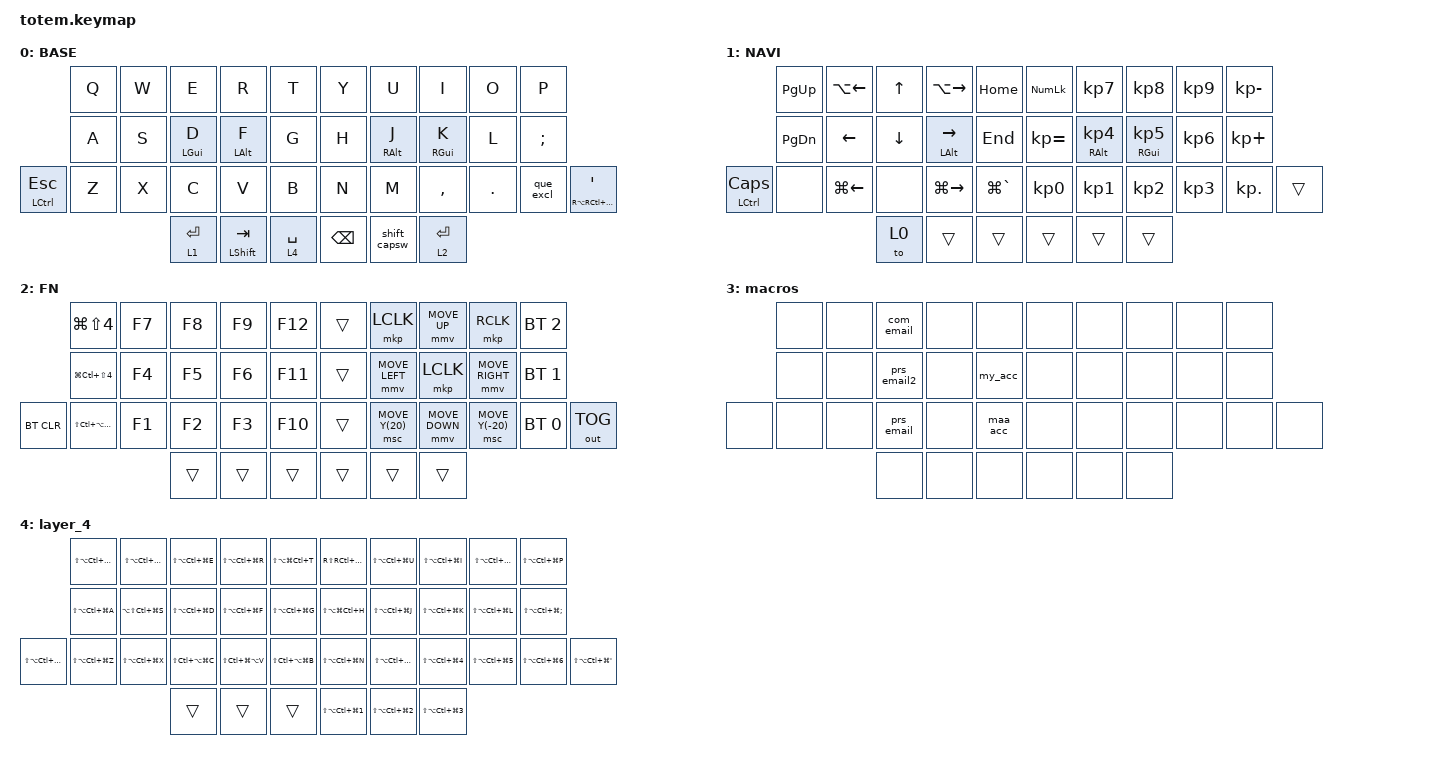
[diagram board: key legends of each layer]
//
//                                                        ▀▀▀▀▀     ▀▀▀▀▀          ▀▀█▀▀
//                                                        ▄▀▀▀▄  ▄  ▄▀▀▀▄  ▄  ▄▀▀▀▄  █  ▄▀▀▀▄
//                                                        █   █  █  █   █  █  █   █  █  █   █
//                                                         ▀▀▀   █   ▀▀▀   █   ▀▀▀   ▀   ▀▀▀
//                                                               █      ▄▄▄█▄▄▄    █   █  
//                                                               ▀      █  █  █     █▄█
//                                                             ▀▀▀▀▀    █  █  █      ▀
//                                                                      ▀  ▀  ▀
//
// ▄▄▄▄▄▄▄▄▄▄▄▄▄▄▄▄▄▄▄▄▄▄▄▄▄▄▄▄▄▄▄▄▄▄▄▄▄▄▄▄▄▄▄▄▄▄▄▄▄▄▄▄▄▄▄▄▄▄▄▄▄▄▄▄▄▄▄▄▄▄▄▄▄▄▄▄▄▄▄▄▄▄▄▄▄▄▄▄▄▄▄▄▄▄▄▄▄▄▄▄▄▄▄▄▄▄▄▄▄▄▄▄▄▄▄▄▄▄▄▄▄▄▄▄▄▄▄▄▄▄▄▄▄▄▄▄▄▄▄▄▄▄▄▄▄▄▄▄▄

#include <dt-bindings/zmk/mouse.h>
#include <behaviors.dtsi>
#include <dt-bindings/zmk/bt.h>
#include <dt-bindings/zmk/keys.h>
#include <dt-bindings/zmk/outputs.h>
#include <dt-bindings/zmk/pointing.h>

#define BASE 0
#define NAV  1
#define SYM  2
#define ADJ  3
#define TVP1 4
#define TVP2 5

&sk { quick-release; };

&caps_word { mods = <(MOD_LSFT|MOD_RSFT)>; };

&mmv {
    trigger-period-ms = <2>;
    time-to-max-speed-ms = <50>;
};

/ {
    combos {
        compatible = "zmk,combos";

        lastapp {
            bindings = <&kp LG(TAB)>;
            key-positions = <33 34>;
            timeout-ms = <60>;
            layers = <0>;
        };

        copy {
            bindings = <&kp LG(C)>;
            key-positions = <22 23>;
            layers = <0>;
        };

        paste {
            bindings = <&kp LG(V)>;
            key-positions = <23 24>;
            layers = <0>;
        };

        cut {
            bindings = <&kp LG(X)>;
            key-positions = <22 24>;
            layers = <0>;
        };

        delete {
            bindings = <&kp DELETE>;
            key-positions = <7 8>;
            layers = <0 1>;
        };

        underscore {
            bindings = <&kp UNDER>;
            key-positions = <15 26>;
            layers = <0 1>;
        };

        left_paranthesis {
            bindings = <&left_parenthesis>;
            key-positions = <17 16>;
            layers = <0 1>;
        };

        right_paranthesis {
            bindings = <&right_parenthesis>;
            key-positions = <17 18>;
            layers = <0 1>;
        };

        hyphen {
            bindings = <&kp MINUS>;
            key-positions = <16 27>;
            layers = <0 1>;
        };

        pipe {
            bindings = <&kp PIPE>;
            key-positions = <29 18>;
            layers = <0 1>;
        };

        backslash {
            bindings = <&kp BACKSLASH>;
            key-positions = <23 12>;
            layers = <0 1>;
        };

        left_square_bracket {
            bindings = <&kp LEFT_BRACKET>;
            key-positions = <27 28>;
            layers = <0 1>;
        };

        right_square_bracket {
            bindings = <&kp RIGHT_BRACKET>;
            key-positions = <28 29>;
            layers = <0 1>;
        };

        amphersand {
            bindings = <&kp AMPS>;
            key-positions = <8 18>;
            layers = <0 1>;
        };

        plus {
            bindings = <&kp PLUS>;
            key-positions = <6 16>;
            layers = <0 1>;
        };

        asterisk {
            bindings = <&kp ASTRK>;
            key-positions = <17 7>;
            layers = <0 1>;
        };

        comb3_lm {
            bindings = <&kp LS(LC(LG(F14)))>;
            key-positions = <11 12 13>;
            layers = <0>;
        };

        equal {
            bindings = <&kp KP_EQUAL>;
            key-positions = <13 24>;
            layers = <0 1>;
        };

        doller {
            bindings = <&kp DOLLAR>;
            key-positions = <3 13>;
            layers = <0 1>;
        };

        hash {
            bindings = <&kp HASH>;
            key-positions = <2 12>;
            layers = <0 1>;
        };

        tild {
            bindings = <&kp TILDE>;
            key-positions = <14 25>;
            layers = <0 1>;
        };

        percent {
            bindings = <&kp PERCENT>;
            key-positions = <4 14>;
            layers = <0 1>;
        };

        grev {
            bindings = <&kp GRAVE>;
            key-positions = <11 22>;
            layers = <0 1>;
        };

        at_the_rate {
            bindings = <&kp AT>;
            key-positions = <1 11>;
            layers = <0 1>;
        };

        select_word_l {
            bindings = <&kp LS(LA(LEFT))>;
            key-positions = <1 2>;
            layers = <1 0>;
            timeout-ms = <40>;
        };

        select_word_r {
            bindings = <&kp LS(LA(RIGHT))>;
            key-positions = <3 2>;
            layers = <1 0>;
            timeout-ms = <40>;
        };

        forward_slash {
            bindings = <&kp SLASH>;
            key-positions = <17 28>;
            layers = <0 1>;
        };

        macro_layer {
            bindings = <&mo 3>;
            key-positions = <20 32>;
        };

        caret {
            bindings = <&kp CARET>;
            key-positions = <15 5>;
        };

        bkspace {
            bindings = <&kp BACKSPACE>;
            key-positions = <6 7>;
        };

        comb3_rm {
            bindings = <&kp LS(LC(LG(F17)))>;
            key-positions = <16 17 18>;
        };

        comb3_lt {
            bindings = <&kp LS(LC(LG(F13)))>;
            key-positions = <1 2 3>;
        };

        comb3_lb {
            bindings = <&kp LS(LC(LG(F15)))>;
            key-positions = <22 23 24>;
        };

        emoji {
            bindings = <&kp LC(LG(SPACE))>;
            key-positions = <32 33>;
        };
    };

    behaviors {
        left_parenthesis: left_parenthesis {
            compatible = "zmk,behavior-mod-morph";
            label = "LEFT_PARENTHESIS";
            bindings = <&kp LEFT_PARENTHESIS>, <&kp LESS_THAN>;

            #binding-cells = <0>;
            mods = <(MOD_RSFT|MOD_LSFT)>;
        };

        right_parenthesis: right_parenthesis {
            compatible = "zmk,behavior-mod-morph";
            label = "RIGHT_PARENTHESIS";
            bindings = <&kp RIGHT_PARENTHESIS>, <&kp GREATER_THAN>;

            #binding-cells = <0>;
            mods = <(MOD_RSFT|MOD_LSFT)>;
        };

        que_excl: que_excl {
            compatible = "zmk,behavior-mod-morph";
            label = "QUE_EXCL";
            bindings = <&kp QUESTION>, <&kp EXCL>;

            #binding-cells = <0>;
            mods = <(MOD_LSFT|MOD_RSFT)>;
        };

        thumb_sl: thumb_sl {
            compatible = "zmk,behavior-hold-tap";
            label = "THUMB_SL";
            bindings = <&mo>, <&sl>;

            #binding-cells = <2>;
            tapping-term-ms = <268>;
            quick-tap-ms = <170>;
            flavor = "balanced";
            hold-trigger-on-release;
            require-prior-idle-ms = <150>;
        };

        hrm: hrm {
            compatible = "zmk,behavior-hold-tap";
            label = "HRM";
            bindings = <&kp>, <&kp>;

            #binding-cells = <2>;
            tapping-term-ms = <200>;
            quick-tap-ms = <250>;
            flavor = "tap-preferred";
            hold-trigger-on-release;
            require-prior-idle-ms = <100>;
        };

        shift_capsw: shift_capsw {
            compatible = "zmk,behavior-tap-dance";
            label = "SHIFT_CAPSW";
            #binding-cells = <0>;
            bindings = <&sk LEFT_SHIFT>, <&caps_word>;

            tapping-term-ms = <400>;
        };

        lt_repeat: lt_repeat {
            compatible = "zmk,behavior-hold-tap";
            label = "LT_REPEAT";
            bindings = <&mo>, <&kp>;

            #binding-cells = <2>;
            tapping-term-ms = <350>;
            quick-tap-ms = <250>;
            flavor = "balanced";
        };

        mm_cmdspace: mm_cmdspace {
            compatible = "zmk,behavior-mod-morph";
            label = "MM_CMDSPACE";
            bindings = <&mt LEFT_GUI SPACE>, <&kp LG(SPACE)>;

            #binding-cells = <0>;
            mods = <(MOD_RCTL|MOD_RSFT|MOD_RALT|MOD_RGUI)>;
        };
    };

    macros {
        com_email: com_email {
            compatible = "zmk,behavior-macro";
            #binding-cells = <0>;
            bindings = <&none &kp A &kp B &kp H &kp I &kp N &kp A &kp V &kp DOT &kp K &kp O &kp T &kp A &kp K &kp AT &kp S &kp E &kp N &kp N &kp D &kp E &kp R &kp DOT &kp C &kp O &kp M>;
            label = "COM_EMAIL";
        };

        prs_email: prs_email {
            compatible = "zmk,behavior-macro";
            #binding-cells = <0>;
            bindings = <&kp K &kp O &kp T &kp A &kp K &kp AT &kp L &kp D &kp O &kp P &kp A &kp DOT &kp I &kp N>;
            label = "PRS_EMAIL";
        };

        prs_email2: prs_email2 {
            compatible = "zmk,behavior-macro";
            #binding-cells = <0>;
            bindings = <&kp I &kp N &kp DOT &kp A &kp B &kp H &kp I &kp N9 &kp AT &kp G &kp M &kp A &kp I &kp L &kp DOT &kp C &kp O &kp M>;
            label = "PRS_EMAIL2";
        };

        maa_acc: maa_acc {
            compatible = "zmk,behavior-macro";
            #binding-cells = <0>;
            bindings = <&kp N1 &kp N1 &kp N6 &kp N3 &kp N4 &kp N4 &kp N0 &kp N3 &kp N7 &kp ENTER>;
            label = "MAA_ACC";
        };

        my_acc: my_acc {
            compatible = "zmk,behavior-macro";
            #binding-cells = <0>;
            bindings = <&kp N2 &kp N7 &kp N8 &kp N7 &kp N4 &kp N8 &kp N0 &kp N1 &kp N0 &kp ENTER>;
            label = "MY_ACC";
        };
    };

    keymap {
        compatible = "zmk,keymap";

        // ▄▄▄▄▄▄▄▄▄▄▄▄▄▄▄▄▄▄▄▄▄▄▄▄▄▄▄▄▄▄▄▄▄▄▄▄▄▄▄▄▄▄▄▄▄▄▄▄▄▄▄▄▄▄▄▄▄▄▄▄▄▄▄▄▄▄▄▄▄▄▄▄▄▄▄▄▄▄▄▄▄▄▄▄▄▄▄▄▄▄▄▄▄▄▄▄▄▄▄▄▄▄▄▄▄▄▄▄▄▄▄▄▄▄▄▄▄▄▄▄▄▄▄▄▄▄▄▄▄▄▄▄▄▄▄▄▄▄▄▄▄▄▄▄▄▄▄▄▄

        base_layer {
            // ┏━━━━━━━━━━━━━━━━━━━━━━━━━━━━━━━━━━━━━━━┓

            label = "BASE";

            // ┗━━━━━━━━━━━━━━━━━━━━━━━━━━━━━━━━━━━━━━━┛
            //             ┏━━━━━━━━━━━┳━━━━━━━━━━━┳━━━━━━━━━━━┳━━━━━━━━━━━┳━━━━━━━━━━━┓   ┏━━━━━━━━━━━┳━━━━━━━━━━━┳━━━━━━━━━━━┳━━━━━━━━━━━┳━━━━━━━━━━━┓
            //             ┃     Q     ┃     W     ┃     F     ┃     P     ┃     G     ┃   ┃     J     ┃     L     ┃     U     ┃     Y     ┃     ;     ┃
            //             ┣━━━━━━━━━━━╋━━━━━━━━━━━╋━━━━━━━━━━━╋━━━━━━━━━━━╋━━━━━━━━━━━┫   ┣━━━━━━━━━━━╋━━━━━━━━━━━╋━━━━━━━━━━━╋━━━━━━━━━━━╋━━━━━━━━━━━┫
            //             ┃     A     ┃     R     ┃     S     ┃     T     ┃     D     ┃   ┃     H     ┃     N     ┃     E     ┃     I     ┃     O     ┃
            // ┏━━━━━━━━━━━╋━━━━━━━━━━━╋━━━━━━━━━━━╋━━━━━━━━━━━╋━━━━━━━━━━━╋━━━━━━━━━━━┫   ┣━━━━━━━━━━━╋━━━━━━━━━━━╋━━━━━━━━━━━╋━━━━━━━━━━━╋━━━━━━━━━━━╋━━━━━━━━━━━┓
            // ┃     Q     ┃     Z     ┃     X     ┃     C     ┃     V     ┃     B     ┃   ┃     K     ┃     M     ┃     ,     ┃     .     ┃     /     ┃     \     ┃
            // ┗━━━━━━━━━━━┻━━━━━━━━━━━┻━━━━━━━━━━━╋━━━━━━━━━━━╋━━━━━━━━━━━╋━━━━━━━━━━━┫   ┣━━━━━━━━━━━╋━━━━━━━━━━━╋━━━━━━━━━━━╋━━━━━━━━━━━┻━━━━━━━━━━━┻━━━━━━━━━━━┛
            //                                     ┃    DEL    ┃    TAB    ┃    SPC    ┃   ┃   ENTER   ┃           ┃   BSPC    ┃
            //                                     ┗━━━━━━━━━━━┻━━━━━━━━━━━┻━━━━━━━━━━━┛   ┗━━━━━━━━━━━┻━━━━━━━━━━━┻━━━━━━━━━━━┛

            bindings = <
                   &kp Q  &kp W  &kp E               &kp R                &kp T                 &kp Y          &kp U             &kp I               &kp O    &kp P
                   &kp A  &kp S  &hrm LEFT_GUI D     &hrm LEFT_ALT F      &kp G                 &kp H          &hrm RIGHT_ALT J  &hrm RIGHT_GUI K    &kp L    &kp SEMI
&hrm LCTRL ESCAPE  &kp Z  &kp X  &kp C               &kp V                &kp B                 &kp N          &kp M             &kp COMMA           &kp DOT  &que_excl  &hrm RA(RC(RIGHT_GUI)) SINGLE_QUOTE
                                 &lt_repeat 1 ENTER  &hrm LEFT_SHIFT TAB  &lt_repeat 4 SPACE    &kp BACKSPACE  &shift_capsw      &lt_repeat 2 ENTER
            >;
        };

        // ▄▄▄▄▄▄▄▄▄▄▄▄▄▄▄▄▄▄▄▄▄▄▄▄▄▄▄▄▄▄▄▄▄▄▄▄▄▄▄▄▄▄▄▄▄▄▄▄▄▄▄▄▄▄▄▄▄▄▄▄▄▄▄▄▄▄▄▄▄▄▄▄▄▄▄▄▄▄▄▄▄▄▄▄▄▄▄▄▄▄▄▄▄▄▄▄▄▄▄▄▄▄▄▄▄▄▄▄▄▄▄▄▄▄▄▄▄▄▄▄▄▄▄▄▄▄▄▄▄▄▄▄▄▄▄▄▄▄▄▄▄▄▄▄▄▄▄▄▄

        nav_layer {
            // ┏━━━━━━━━━━━━━━━━━━━━━━━━━━━━━━━━━━━━━━━┓

            label = "NAVI";

            // ┗━━━━━━━━━━━━━━━━━━━━━━━━━━━━━━━━━━━━━━━┛
            //             ┏━━━━━━━━━━━┳━━━━━━━━━━━┳━━━━━━━━━━━┳━━━━━━━━━━━┳━━━━━━━━━━━┓   ┏━━━━━━━━━━━┳━━━━━━━━━━━┳━━━━━━━━━━━┳━━━━━━━━━━━┳━━━━━━━━━━━┓
            //             ┃           ┃           ┃     UP    ┃           ┃     {     ┃   ┃     }     ┃     7     ┃     8     ┃     9     ┃     +     ┃
            //             ┣━━━━━━━━━━━╋━━━━━━━━━━━╋━━━━━━━━━━━╋━━━━━━━━━━━╋━━━━━━━━━━━┫   ┣━━━━━━━━━━━╋━━━━━━━━━━━╋━━━━━━━━━━━╋━━━━━━━━━━━╋━━━━━━━━━━━┫
            //             ┃   SHIFT   ┃   LEFT    ┃    DOWN   ┃   RIGHT   ┃     [     ┃   ┃     ]     ┃     4     ┃     5     ┃     6     ┃     -     ┃
            // ┏━━━━━━━━━━━╋━━━━━━━━━━━╋━━━━━━━━━━━╋━━━━━━━━━━━╋━━━━━━━━━━━╋━━━━━━━━━━━┫   ┣━━━━━━━━━━━╋━━━━━━━━━━━╋━━━━━━━━━━━╋━━━━━━━━━━━╋━━━━━━━━━━━╋━━━━━━━━━━━┓
            // ┃           ┃           ┃   P UP    ┃  C LOCK   ┃  P DOWN   ┃     (     ┃   ┃     )     ┃     1     ┃     2     ┃     3     ┃     *     ┃           ┃
            // ┗━━━━━━━━━━━┻━━━━━━━━━━━┻━━━━━━━━━━━╋━━━━━━━━━━━╋━━━━━━━━━━━╋━━━━━━━━━━━┫   ┣━━━━━━━━━━━╋━━━━━━━━━━━╋━━━━━━━━━━━╋━━━━━━━━━━━┻━━━━━━━━━━━┻━━━━━━━━━━━┛
            //                                     ┃           ┃    TAB    ┃    SPC    ┃   ┃    DEL    ┃     0     ┃           ┃
            //                                     ┗━━━━━━━━━━━┻━━━━━━━━━━━┻━━━━━━━━━━━┛   ┗━━━━━━━━━━━┻━━━━━━━━━━━┻━━━━━━━━━━━┛

            bindings = <
                        &kp PG_UP  &kp LA(LEFT)  &kp UP          &kp LA(RIGHT)        &kp HOME         &kp KP_NUMLOCK  &kp KP_N7                   &kp KP_N8                   &kp KP_N9        &kp KP_MINUS
                        &kp PG_DN  &kp LEFT      &kp DOWN_ARROW  &hrm LEFT_ALT RIGHT  &kp END          &kp KP_EQUAL    &hrm RIGHT_ALT KP_NUMBER_4  &hrm RIGHT_GUI KP_NUMBER_5  &kp KP_NUMBER_6  &kp KP_PLUS
&hrm LEFT_CONTROL CAPS  &none      &kp LG(LEFT)  &none           &kp LG(RIGHT)        &kp LG(GRAVE)    &kp KP_N0       &kp KP_N1                   &kp KP_N2                   &kp KP_N3        &kp KP_DOT    &trans
                                                 &to 0           &trans               &trans           &trans          &trans                      &trans
            >;
        };

        // ▄▄▄▄▄▄▄▄▄▄▄▄▄▄▄▄▄▄▄▄▄▄▄▄▄▄▄▄▄▄▄▄▄▄▄▄▄▄▄▄▄▄▄▄▄▄▄▄▄▄▄▄▄▄▄▄▄▄▄▄▄▄▄▄▄▄▄▄▄▄▄▄▄▄▄▄▄▄▄▄▄▄▄▄▄▄▄▄▄▄▄▄▄▄▄▄▄▄▄▄▄▄▄▄▄▄▄▄▄▄▄▄▄▄▄▄▄▄▄▄▄▄▄▄▄▄▄▄▄▄▄▄▄▄▄▄▄▄▄▄▄▄▄▄▄▄▄▄▄

        fn_layer {
            // ┏━━━━━━━━━━━━━━━━━━━━━━━━━━━━━━━━━━━━━━━┓

            label = "FN";

            // ┗━━━━━━━━━━━━━━━━━━━━━━━━━━━━━━━━━━━━━━━┛
            //             ┏━━━━━━━━━━━┳━━━━━━━━━━━┳━━━━━━━━━━━┳━━━━━━━━━━━┳━━━━━━━━━━━┓   ┏━━━━━━━━━━━┳━━━━━━━━━━━┳━━━━━━━━━━━┳━━━━━━━━━━━┳━━━━━━━━━━━┓
            //             ┃     !     ┃     @     ┃     #     ┃     $     ┃     %     ┃   ┃     ˆ     ┃     &     ┃     Ü     ┃     '     ┃     "     ┃
            //             ┣━━━━━━━━━━━╋━━━━━━━━━━━╋━━━━━━━━━━━╋━━━━━━━━━━━╋━━━━━━━━━━━┫   ┣━━━━━━━━━━━╋━━━━━━━━━━━╋━━━━━━━━━━━╋━━━━━━━━━━━╋━━━━━━━━━━━┫
            //             ┃     Ä     ┃           ┃    SZ     ┃           ┃           ┃   ┃   MUTE    ┃   YEN     ┃   EURO    ┃  POUND    ┃     Ö     ┃
            // ┏━━━━━━━━━━━╋━━━━━━━━━━━╋━━━━━━━━━━━╋━━━━━━━━━━━╋━━━━━━━━━━━╋━━━━━━━━━━━┫   ┣━━━━━━━━━━━╋━━━━━━━━━━━╋━━━━━━━━━━━╋━━━━━━━━━━━╋━━━━━━━━━━━╋━━━━━━━━━━━┓
            // ┃           ┃  EMAIL1   ┃  EMAIL2   ┃           ┃           ┃           ┃   ┃   VOL-    ┃   VOL+    ┃   LAST    ┃   NEXT    ┃     \     ┃           ┃
            // ┗━━━━━━━━━━━┻━━━━━━━━━━━┻━━━━━━━━━━━╋━━━━━━━━━━━╋━━━━━━━━━━━╋━━━━━━━━━━━┫   ┣━━━━━━━━━━━╋━━━━━━━━━━━╋━━━━━━━━━━━╋━━━━━━━━━━━┻━━━━━━━━━━━┻━━━━━━━━━━━┛
            //                                     ┃           ┃    GIF    ┃    ADJ    ┃   ┃           ┃           ┃           ┃
            //                                     ┗━━━━━━━━━━━┻━━━━━━━━━━━┻━━━━━━━━━━━┛   ┗━━━━━━━━━━━┻━━━━━━━━━━━┻━━━━━━━━━━━┛

            bindings = <
            &kp LG(LS(NUMBER_4))      &kp F7  &kp F8  &kp F9  &kp F12    &trans  &mkp LCLK        &mmv MOVE_UP    &mkp RCLK         &bt BT_SEL 2
            &kp LG(LC(LS(NUMBER_4)))  &kp F4  &kp F5  &kp F6  &kp F11    &trans  &mmv MOVE_LEFT   &mkp LCLK       &mmv MOVE_RIGHT   &bt BT_SEL 1
&bt BT_CLR  &kp LS(LC(LA(LG(F4))))    &kp F1  &kp F2  &kp F3  &kp F10    &trans  &msc MOVE_Y(20)  &mmv MOVE_DOWN  &msc MOVE_Y(-20)  &bt BT_SEL 0  &out OUT_TOG
                                              &trans  &trans  &trans     &trans  &trans           &trans
            >;
        };

        // ▄▄▄▄▄▄▄▄▄▄▄▄▄▄▄▄▄▄▄▄▄▄▄▄▄▄▄▄▄▄▄▄▄▄▄▄▄▄▄▄▄▄▄▄▄▄▄▄▄▄▄▄▄▄▄▄▄▄▄▄▄▄▄▄▄▄▄▄▄▄▄▄▄▄▄▄▄▄▄▄▄▄▄▄▄▄▄▄▄▄▄▄▄▄▄▄▄▄▄▄▄▄▄▄▄▄▄▄▄▄▄▄▄▄▄▄▄▄▄▄▄▄▄▄▄▄▄▄▄▄▄▄▄▄▄▄▄▄▄▄▄▄▄▄▄▄▄▄▄
        // ▄▄▄▄▄▄▄▄▄▄▄▄▄▄▄▄▄▄▄▄▄▄▄▄▄▄▄▄▄▄▄▄▄▄▄▄▄▄▄▄▄▄▄▄▄▄▄▄▄▄▄▄▄▄▄▄▄▄▄▄▄▄▄▄▄▄▄▄▄▄▄▄▄▄▄▄▄▄▄▄▄▄▄▄▄▄▄▄▄▄▄▄▄▄▄▄▄▄▄▄▄▄▄▄▄▄▄▄▄▄▄▄▄▄▄▄▄▄▄▄▄▄▄▄▄▄▄▄▄▄▄▄▄▄▄▄▄▄▄▄▄▄▄▄▄▄▄▄▄

        macros {
            bindings = <
       &none  &none  &com_email   &none  &none       &none  &none  &none  &none  &none
       &none  &none  &prs_email2  &none  &my_acc     &none  &none  &none  &none  &none
&none  &none  &none  &prs_email   &none  &maa_acc    &none  &none  &none  &none  &none  &none
                     &none        &none  &none       &none  &none  &none
            >;
        };

        layer_4 {
            bindings = <
                        &kp LS(LA(LC(LG(Q))))  &kp LS(LA(LC(LG(W))))  &kp LS(LA(LC(LG(E))))  &kp LS(LA(LC(LG(R))))  &kp LS(LA(LG(LC(T))))    &kp RS(RC(RA(RG(Y))))         &kp LS(LA(LC(LG(U))))         &kp LS(LA(LC(LG(I))))         &kp LS(LA(LC(LG(O))))         &kp LS(LA(LC(LG(P))))
                        &kp LS(LA(LC(LG(A))))  &kp LA(LS(LC(LG(S))))  &kp LS(LA(LC(LG(D))))  &kp LS(LA(LC(LG(F))))  &kp LS(LA(LC(LG(G))))    &kp LS(LA(LG(LC(H))))         &kp LS(LA(LC(LG(J))))         &kp LS(LA(LC(LG(K))))         &kp LS(LA(LC(LG(L))))         &kp LS(LA(LC(LG(SEMI))))
&kp LS(LA(LC(LG(F1))))  &kp LS(LA(LC(LG(Z))))  &kp LS(LA(LC(LG(X))))  &kp LS(LC(LA(LG(C))))  &kp LS(LC(LG(LA(V))))  &kp LS(LC(LA(LG(B))))    &kp LS(LA(LC(LG(N))))         &kp LS(LA(LC(LG(M))))         &kp LS(LA(LC(LG(NUMBER_4))))  &kp LS(LA(LC(LG(NUMBER_5))))  &kp LS(LA(LC(LG(NUMBER_6))))  &kp LS(LA(LC(LG(SQT))))
                                                                      &trans                 &trans                 &trans                   &kp LS(LA(LC(LG(NUMBER_1))))  &kp LS(LA(LC(LG(NUMBER_2))))  &kp LS(LA(LC(LG(NUMBER_3))))
            >;
        };

        // ▄▄▄▄▄▄▄▄▄▄▄▄▄▄▄▄▄▄▄▄▄▄▄▄▄▄▄▄▄▄▄▄▄▄▄▄▄▄▄▄▄▄▄▄▄▄▄▄▄▄▄▄▄▄▄▄▄▄▄▄▄▄▄▄▄▄▄▄▄▄▄▄▄▄▄▄▄▄▄▄▄▄▄▄▄▄▄▄▄▄▄▄▄▄▄▄▄▄▄▄▄▄▄▄▄▄▄▄▄▄▄▄▄▄▄▄▄▄▄▄▄▄▄▄▄▄▄▄▄▄▄▄▄▄▄▄▄▄▄▄▄▄▄▄▄▄▄▄▄
    };
};
